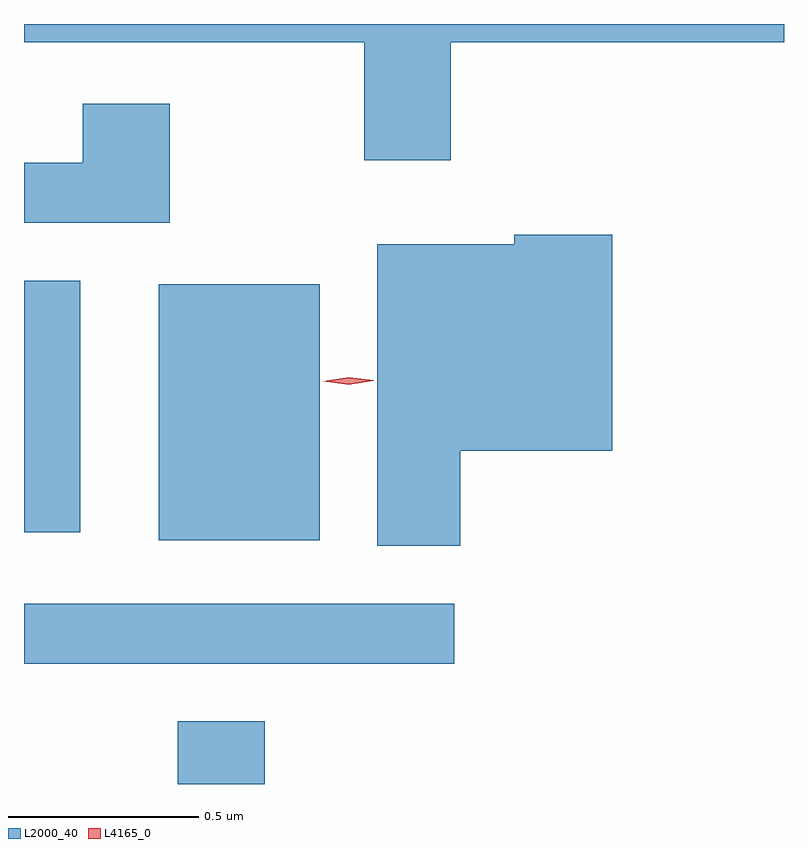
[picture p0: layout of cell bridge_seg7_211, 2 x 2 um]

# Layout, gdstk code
import gdstk
lib = gdstk.Library(unit=1e-6, precision=1e-09)
def R(c, l, rs):  # rectangles x0, y0, x1, y1
    for r in rs: c.add(gdstk.rectangle(r[:2], r[2:], *l))
def P(c, l, *ps):  # polygons
    for p in ps: c.add(gdstk.Polygon(p, *l))
L2000_40 = (2000, 40)
L4165_0 = (4165, 0)

bridge_seg7_211 = lib.new_cell('bridge_seg7_211')
R(bridge_seg7_211, L2000_40, [(1509.751,1676.844,1509.979,1677.009), (1509.346,1677.161,1510.478,1677.319), (1509.701,1677.486,1510.124,1678.159), (1509.346,1677.506,1509.494,1678.169)])
P(bridge_seg7_211, L2000_40, [(1510.469,1678.796),(1511.346,1678.796),(1511.346,1678.844),(1509.346,1678.844),(1509.346,1678.796),(1510.241,1678.796),(1510.241,1678.486),(1510.469,1678.486)],
  [(1509.729,1678.634),(1509.501,1678.634),(1509.501,1678.479),(1509.346,1678.479),(1509.346,1678.321),(1509.729,1678.321)],
  [(1510.494,1677.721),(1510.894,1677.721),(1510.894,1678.289),(1510.636,1678.289),(1510.636,1678.264),(1510.276,1678.264),(1510.276,1677.471),(1510.494,1677.471)])
P(bridge_seg7_211, L4165_0, [(1510.2,1677.895),(1510.134,1677.904),(1510.134,1677.904),(1510.134,1677.904),(1510.2,1677.915),(1510.266,1677.906),(1510.266,1677.906),(1510.266,1677.905)])

lib.write_gds('bridge_seg7_211.gds')
